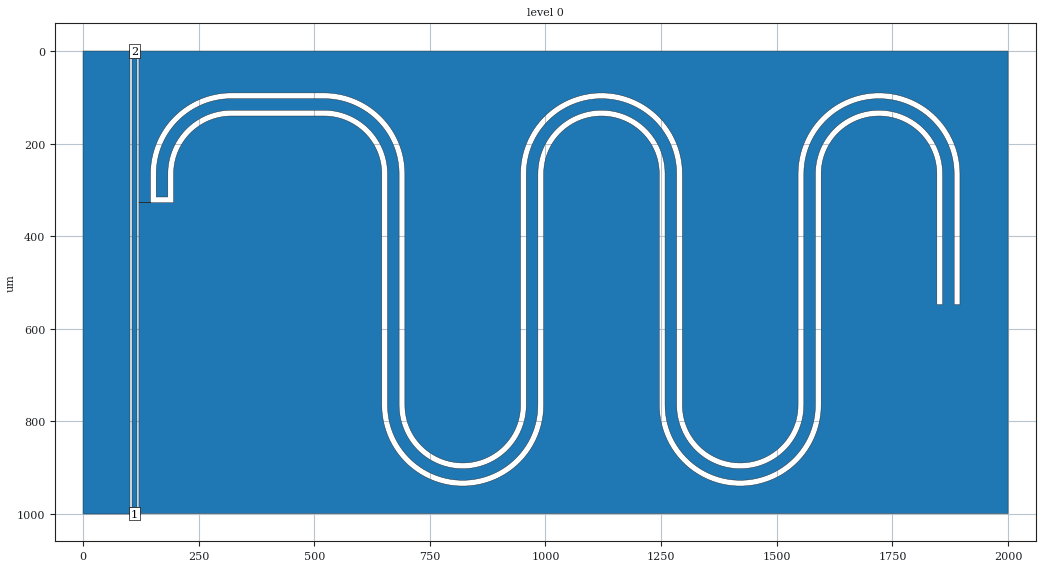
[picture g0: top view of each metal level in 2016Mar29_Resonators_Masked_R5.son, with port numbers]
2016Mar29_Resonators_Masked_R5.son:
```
FTYP SONPROJ 15 ! Sonnet Project File
VER 16.52
HEADER
LIC calt2.2.43068 b4ae2bd1247e DESKTOP-SL82IK9 Michael
DAT 04/05/2016 03:11:30
BUILT_BY_CREATED xgeom 16.52 03/26/2016 21:21:12
BUILT_BY_SAVED xgeom 16.52
MDATE 04/05/2016 03:11:30
HDATE 04/05/2016 03:11:30
END HEADER
DIM
FREQ GHZ
IND NH
LNG UM
ANG DEG
CON /OH
CAP PF
RES OH
END DIM
FREQ
ABS 5.9 6.2 
END FREQ
CONTROL
ABS
OPTIONS  -d 
SPEED 0
CACHE_ABS 1
TARG_ABS 300
Q_ACC N
DET_ABS_RES Y
END CONTROL
GEO
TMET "Lossless" 0 SUP 0 0 0 0
BMET "Lossless" 0 SUP 0 0 0 0
BOX 1 2001 999 1334 666 20 0
      1000 1 1 0 0 0 0 "Air"
      500 11.9 1 5e-006 0 0 0 "Silicon (intrinsic)"
LORGN 0 999 U 
POR1 STD
POLY 12 1
2
1 50 0 0 0 111 999.9999372 
POR1 STD
POLY 12 1
0
2 50 0 0 0 111 9.424496625e-006 
NUM 3
0 5 -1 N 12 1 1 100 100 0 0 0 Y
116 9.424496625e-006
106 9.424496625e-006
106 999.9999372
116 999.9999372
116 9.424496625e-006
END
0 5 -1 N 13 1 1 100 100 0 0 0 Y
101 7.032416229e-006
7.608553248e-006 7.032416229e-006
7.608553248e-006 999.9999372
101 999.9999372
101 7.032416229e-006
END
0 1221 -1 N 21 1 1 100 100 0 0 0 Y
1999.999992 7.571450978e-006
121 7.571450978e-006
121 328
146 328
146 265.5
146.09 259.89
146.36 254.29
146.81 248.7
147.44 243.12
148.24 237.57
149.23 232.05
150.39 226.56
151.72 221.11
153.23 215.71
154.92 210.36
156.77 205.06
158.79 199.83
160.98 194.66
163.33 189.57
165.85 184.56
168.52 179.62
171.35 174.78
174.34 170.03
177.47 165.38
180.75 160.83
184.18 156.39
187.75 152.06
191.45 147.85
195.29 143.76
199.26 139.79
203.35 135.95
207.56 132.25
211.89 128.68
216.33 125.25
220.88 121.97
225.53 118.83
230.28 115.85
235.12 113.02
240.06 110.34
245.07 107.83
250.16 105.48
255.33 103.29
260.56 101.27
265.86 99.41
271.21 97.73
276.61 96.22
282.06 94.89
287.55 93.73
293.07 92.74
298.62 91.94
304.2 91.31
309.79 90.86
315.39 90.59
321 90.5
521 90.5
526.61 90.59
532.21 90.86
537.8 91.31
543.38 91.94
548.93 92.74
554.45 93.73
559.94 94.89
565.39 96.22
570.79 97.73
576.14 99.41
581.44 101.27
586.67 103.29
591.84 105.48
596.93 107.83
601.94 110.34
606.88 113.02
611.72 115.85
616.47 118.83
621.12 121.97
625.67 125.25
630.11 128.68
634.44 132.25
638.65 135.95
642.74 139.79
646.71 143.76
650.55 147.85
654.25 152.06
657.82 156.39
661.25 160.83
664.53 165.38
667.67 170.03
670.65 174.78
673.48 179.62
676.15 184.56
678.67 189.57
681.02 194.66
683.21 199.83
685.23 205.06
687.09 210.36
688.77 215.71
690.28 221.11
691.61 226.56
692.77 232.05
693.76 237.57
694.56 243.12
695.19 248.7
695.64 254.29
695.91 259.89
696 265.5
696 765.5
696.26 773.51
697.03 781.49
698.31 789.39
700.09 797.21
702.37 804.89
705.14 812.41
708.38 819.74
712.09 826.84
716.24 833.69
720.82 840.26
725.82 846.53
731.21 852.46
736.96 858.03
743.06 863.23
749.48 868.02
756.2 872.39
763.18 876.32
770.4 879.8
777.83 882.81
785.43 885.33
793.19 887.37
801.05 888.9
809 889.92
816.99 890.44
825.01 890.44
833 889.92
840.95 888.9
848.82 887.37
856.57 885.33
864.17 882.81
871.6 879.8
878.82 876.32
885.8 872.39
892.52 868.02
898.94 863.23
905.04 858.03
910.79 852.46
916.18 846.53
921.18 840.26
925.76 833.69
929.92 826.84
933.62 819.74
936.86 812.41
939.63 804.89
941.91 797.21
943.69 789.39
944.97 781.49
945.74 773.51
946 765.5
946 265.5
946.36 254.29
947.44 243.12
949.23 232.05
951.72 221.11
954.92 210.36
958.79 199.83
963.33 189.57
968.52 179.62
974.34 170.03
980.75 160.83
987.75 152.06
995.29 143.76
1003.35 135.95
1010.21 130.1
1011.89 128.68
1020.88 121.97
1030.28 115.85
1040.06 110.34
1050.16 105.48
1060.56 101.27
1071.21 97.73
1082.06 94.89
1093.07 92.74
1104.2 91.31
1115.39 90.59
1126.61 90.59
1137.8 91.31
1148.93 92.74
1159.94 94.89
1170.79 97.73
1181.44 101.27
1191.84 105.48
1201.94 110.34
1211.72 115.85
1221.12 121.97
1230.11 128.68
1238.65 135.95
1246.71 143.76
1254.25 152.06
1261.25 160.83
1267.67 170.03
1273.48 179.62
1278.67 189.57
1283.21 199.83
1287.09 210.36
1290.28 221.11
1292.77 232.05
1294.56 243.12
1295.64 254.29
1296 265.5
1296 765.5
1296.26 773.51
1297.03 781.49
1298.31 789.39
1300.09 797.21
1302.37 804.89
1305.14 812.41
1308.38 819.74
1312.09 826.84
1316.24 833.69
1320.82 840.26
1325.82 846.53
1331.21 852.46
1336.96 858.03
1343.06 863.23
1349.48 868.02
1356.2 872.39
1363.18 876.32
1370.4 879.8
1377.83 882.81
1385.43 885.33
1393.19 887.37
1401.05 888.9
1409 889.92
1416.99 890.44
1425.01 890.44
1433 889.92
1440.95 888.9
1448.82 887.37
1456.57 885.33
1464.17 882.81
1471.6 879.8
1478.82 876.32
1485.8 872.39
1492.52 868.02
1498.94 863.23
1505.04 858.03
1510.79 852.46
1516.18 846.53
1521.18 840.26
1525.76 833.69
1529.92 826.84
1533.62 819.74
1536.86 812.41
1539.63 804.89
1541.91 797.21
1543.69 789.39
1544.97 781.49
1545.74 773.51
1546 765.5
1546 265.5
1546.36 254.29
1547.44 243.12
1549.23 232.05
1551.72 221.11
1554.92 210.36
1558.79 199.83
1563.33 189.57
1568.52 179.62
1574.34 170.03
1580.75 160.83
1587.75 152.06
1595.29 143.76
1603.35 135.95
1611.89 128.68
1620.88 121.97
1630.28 115.85
1640.06 110.34
1650.16 105.48
1660.56 101.27
1671.21 97.73
1682.06 94.89
1693.07 92.74
1704.2 91.31
1715.39 90.59
1726.61 90.59
1737.8 91.31
1748.93 92.74
1759.94 94.89
1770.79 97.73
1781.44 101.27
1791.84 105.48
1801.94 110.34
1811.72 115.85
1821.12 121.97
1830.11 128.68
1838.65 135.95
1846.71 143.76
1854.25 152.06
1861.25 160.83
1867.67 170.03
1873.48 179.62
1878.67 189.57
1883.21 199.83
1887.09 210.36
1890.28 221.11
1892.77 232.05
1894.56 243.12
1895.64 254.29
1896 265.5
1896 548.25
1883.5 548.25
1883.5 265.5
1883.17 255.09
1882.17 244.72
1880.5 234.44
1878.19 224.28
1875.22 214.3
1871.62 204.52
1867.41 194.99
1862.59 185.76
1857.19 176.85
1851.23 168.31
1844.73 160.16
1837.73 152.45
1830.25 145.2
1822.32 138.45
1813.97 132.22
1805.24 126.54
1796.16 121.43
1786.78 116.91
1777.12 113
1767.24 109.72
1757.16 107.07
1746.94 105.08
1736.6 103.75
1726.21 103.08
1715.79 103.08
1705.4 103.75
1695.07 105.08
1684.84 107.07
1674.76 109.72
1664.88 113
1655.22 116.91
1645.84 121.43
1636.76 126.54
1628.03 132.22
1619.68 138.45
1611.75 145.2
1604.27 152.45
1597.27 160.16
1590.77 168.31
1584.81 176.85
1579.41 185.76
1574.59 194.99
1570.38 204.52
1566.78 214.3
1563.82 224.28
1561.5 234.44
1559.83 244.72
1558.83 255.09
1558.5 265.5
1558.5 765.5
1558.22 774.31
1557.37 783.08
1555.96 791.78
1554 800.38
1551.49 808.83
1548.45 817.1
1544.88 825.16
1540.81 832.97
1536.24 840.51
1531.19 847.74
1525.7 854.63
1519.77 861.16
1513.44 867.29
1506.73 873
1499.67 878.27
1492.28 883.08
1484.6 887.41
1476.66 891.23
1468.49 894.54
1460.12 897.32
1451.6 899.55
1442.94 901.24
1434.2 902.36
1425.41 902.93
1416.59 902.93
1407.8 902.36
1399.06 901.24
1390.4 899.55
1381.88 897.32
1373.51 894.54
1365.34 891.23
1357.4 887.41
1349.72 883.08
1342.33 878.27
1335.27 873
1328.56 867.29
1322.23 861.16
1316.3 854.63
1310.81 847.74
1305.76 840.51
1301.19 832.97
1297.12 825.16
1293.55 817.1
1290.51 808.83
1288 800.38
1286.04 791.78
1284.63 783.08
1283.78 774.31
1283.5 765.5
1283.5 265.5
1283.17 255.09
1282.17 244.72
1280.5 234.44
1278.19 224.28
1275.22 214.3
1271.62 204.52
1267.41 194.99
1262.59 185.76
1257.19 176.85
1251.23 168.31
1244.73 160.16
1237.73 152.45
1230.25 145.2
1222.32 138.45
1213.97 132.22
1205.24 126.54
1196.16 121.43
1186.78 116.91
1177.12 113
1167.24 109.72
1157.16 107.07
1146.94 105.08
1136.6 103.75
1126.21 103.08
1115.79 103.08
1105.4 103.75
1095.07 105.08
1084.84 107.07
1074.76 109.72
1064.88 113
1055.22 116.91
1045.84 121.43
1036.76 126.54
1028.03 132.22
1019.68 138.45
1011.75 145.2
1010.21 146.69
1004.27 152.45
997.27 160.16
990.77 168.31
984.81 176.85
979.41 185.76
974.59 194.99
970.38 204.52
966.78 214.3
963.82 224.28
961.5 234.44
959.83 244.72
958.83 255.09
958.5 265.5
958.5 765.5
958.22 774.31
957.37 783.08
955.96 791.78
954 800.38
951.49 808.83
948.45 817.1
944.88 825.16
940.81 832.97
936.24 840.51
931.19 847.74
925.7 854.63
919.77 861.16
913.44 867.29
906.73 873
899.67 878.27
892.28 883.08
884.6 887.41
876.66 891.23
868.49 894.54
860.12 897.32
851.6 899.55
842.94 901.24
834.2 902.36
825.41 902.93
816.59 902.93
807.8 902.36
799.06 901.24
790.4 899.55
781.88 897.32
773.51 894.54
765.34 891.23
757.4 887.41
749.72 883.08
742.33 878.27
735.27 873
728.56 867.29
722.23 861.16
716.3 854.63
710.81 847.74
705.76 840.51
701.19 832.97
697.12 825.16
693.55 817.1
690.51 808.83
688 800.38
686.04 791.78
684.63 783.08
683.78 774.31
683.5 765.5
683.5 265.5
683.42 260.29
683.17 255.09
682.75 249.9
682.17 244.72
681.42 239.57
680.5 234.44
679.43 229.34
678.19 224.28
676.78 219.26
675.22 214.3
673.5 209.38
671.62 204.52
669.59 199.72
667.41 194.99
665.07 190.34
662.59 185.76
659.96 181.26
657.19 176.85
654.28 172.53
651.23 168.31
648.05 164.18
644.73 160.16
641.3 156.25
637.73 152.45
634.05 148.77
630.25 145.2
626.34 141.76
622.32 138.45
618.19 135.27
613.97 132.22
609.65 129.31
605.24 126.54
600.74 123.91
596.16 121.43
591.51 119.09
586.78 116.91
581.98 114.88
577.12 113
572.2 111.28
567.24 109.72
562.22 108.32
557.16 107.07
552.06 106
546.94 105.08
541.78 104.33
536.6 103.75
531.41 103.33
526.21 103.08
521 103
321 103
315.79 103.08
310.59 103.33
305.4 103.75
300.22 104.33
295.07 105.08
289.94 106
284.84 107.07
279.78 108.32
274.76 109.72
269.8 111.28
264.88 113
260.02 114.88
255.22 116.91
250.49 119.09
245.84 121.43
241.26 123.91
236.76 126.54
232.35 129.31
228.03 132.22
223.81 135.27
219.68 138.45
215.66 141.76
211.75 145.2
207.95 148.77
204.27 152.45
200.7 156.25
197.26 160.16
193.95 164.18
190.77 168.31
187.72 172.53
184.81 176.85
182.04 181.26
179.41 185.76
176.93 190.34
174.59 194.99
172.41 199.72
170.38 204.52
168.5 209.38
166.78 214.3
165.22 219.26
163.82 224.28
162.57 229.34
161.5 234.44
160.58 239.57
159.83 244.72
159.25 249.9
158.83 255.09
158.58 260.29
158.5 265.5
158.5 315.5
183.5 315.5
183.5 265.5
183.57 261.09
183.78 256.69
184.14 252.3
184.63 247.92
185.26 243.55
186.04 239.22
186.95 234.9
188 230.62
189.18 226.38
190.51 222.17
191.96 218.01
193.55 213.9
195.27 209.84
197.12 205.84
199.09 201.9
201.19 198.03
203.42 194.22
205.76 190.49
208.23 186.83
210.81 183.26
213.5 179.77
216.3 176.37
219.21 173.06
222.23 169.84
225.34 166.73
228.56 163.71
231.87 160.8
235.27 158
238.76 155.31
242.33 152.73
245.99 150.26
249.72 147.92
253.53 145.69
257.4 143.59
261.34 141.62
265.34 139.77
269.4 138.05
273.51 136.46
277.67 135.01
281.88 133.68
286.12 132.5
290.4 131.45
294.72 130.54
299.06 129.76
303.42 129.13
307.8 128.63
312.19 128.28
316.59 128.07
321 128
521 128
525.41 128.07
529.81 128.28
534.2 128.63
538.58 129.13
542.94 129.76
547.28 130.54
551.6 131.45
555.88 132.5
560.12 133.68
564.33 135.01
568.49 136.46
572.6 138.05
576.66 139.77
580.66 141.62
584.6 143.59
588.47 145.69
592.28 147.92
596.01 150.26
599.67 152.73
603.24 155.31
606.73 158
610.13 160.8
613.44 163.71
616.66 166.73
619.77 169.84
622.79 173.06
625.7 176.37
628.5 179.77
631.19 183.26
633.77 186.83
636.24 190.49
638.58 194.22
640.81 198.03
642.91 201.9
644.88 205.84
646.73 209.84
648.45 213.9
650.04 218.01
651.49 222.17
652.82 226.38
654 230.62
655.05 234.9
655.96 239.22
656.74 243.55
657.37 247.92
657.86 252.3
658.22 256.69
658.43 261.09
658.5 265.5
658.5 765.5
658.83 775.91
659.83 786.28
661.5 796.56
663.82 806.72
666.78 816.7
670.38 826.48
674.59 836.01
679.41 845.24
684.81 854.15
690.77 862.69
697.27 870.84
704.27 878.55
711.75 885.8
719.68 892.55
728.03 898.78
736.76 904.46
745.84 909.57
755.22 914.09
764.88 918
774.76 921.28
784.84 923.93
795.07 925.92
805.4 927.25
815.79 927.92
826.21 927.92
836.6 927.25
846.94 925.92
857.16 923.93
867.24 921.28
877.12 918
886.78 914.09
896.16 909.57
905.24 904.46
913.97 898.78
922.32 892.55
930.25 885.8
937.73 878.55
944.73 870.84
951.23 862.69
957.19 854.15
962.59 845.24
967.41 836.01
971.62 826.48
975.22 816.7
978.19 806.72
980.5 796.56
982.17 786.28
983.17 775.91
983.5 765.5
983.5 265.5
983.78 256.69
984.63 247.92
986.04 239.22
988 230.62
990.51 222.17
993.55 213.9
997.12 205.84
1001.19 198.03
1005.76 190.49
1010.21 184.11
1010.81 183.26
1016.3 176.37
1022.23 169.84
1028.56 163.71
1035.27 158
1042.33 152.73
1049.72 147.92
1057.4 143.59
1065.34 139.77
1073.51 136.46
1081.88 133.68
1090.4 131.45
1099.06 129.76
1107.8 128.63
1116.59 128.07
1125.41 128.07
1134.2 128.63
1142.94 129.76
1151.6 131.45
1160.12 133.68
1168.49 136.46
1176.66 139.77
1184.6 143.59
1192.28 147.92
1199.67 152.73
1206.73 158
1213.44 163.71
1219.77 169.84
1225.7 176.37
1231.19 183.26
1236.24 190.49
1240.81 198.03
1244.88 205.84
1248.45 213.9
1251.49 222.17
1254 230.62
1255.96 239.22
1257.37 247.92
1258.22 256.69
1258.5 265.5
1258.5 765.5
1258.83 775.91
1259.83 786.28
1261.5 796.56
1263.82 806.72
1266.78 816.7
1270.38 826.48
1274.59 836.01
1279.41 845.24
1284.81 854.15
1290.77 862.69
1297.27 870.84
1304.27 878.55
1311.75 885.8
1319.68 892.55
1328.03 898.78
1336.76 904.46
1345.84 909.57
1355.22 914.09
1364.88 918
1374.76 921.28
1384.84 923.93
1395.07 925.92
1405.4 927.25
1415.79 927.92
1426.21 927.92
1436.6 927.25
1446.94 925.92
1457.16 923.93
1467.24 921.28
1477.12 918
1486.78 914.09
1496.16 909.57
1505.24 904.46
1513.97 898.78
1522.32 892.55
1530.25 885.8
1537.73 878.55
1544.73 870.84
1551.23 862.69
1557.19 854.15
1562.59 845.24
1567.41 836.01
1571.62 826.48
1575.22 816.7
1578.19 806.72
1580.5 796.56
1582.17 786.28
1583.17 775.91
1583.5 765.5
1583.5 265.5
1583.78 256.69
1584.63 247.92
1586.04 239.22
1588 230.62
1590.51 222.17
1593.55 213.9
1597.12 205.84
1601.19 198.03
1605.76 190.49
1610.81 183.26
1616.3 176.37
1622.23 169.84
1628.56 163.71
1635.27 158
1642.33 152.73
1649.72 147.92
1657.4 143.59
1665.34 139.77
1673.51 136.46
1681.88 133.68
1690.4 131.45
1699.06 129.76
1707.8 128.63
1716.59 128.07
1725.41 128.07
1734.2 128.63
1742.94 129.76
1751.6 131.45
1760.12 133.68
1768.49 136.46
1776.66 139.77
1784.6 143.59
1792.28 147.92
1799.67 152.73
1806.73 158
1813.44 163.71
1819.77 169.84
1825.7 176.37
1831.19 183.26
1836.24 190.49
1840.81 198.03
1844.88 205.84
1848.45 213.9
1851.49 222.17
1854 230.62
1855.96 239.22
1857.37 247.92
1858.22 256.69
1858.5 265.5
1858.5 548.25
1846 548.25
1846 265.5
1845.74 257.49
1844.97 249.51
1843.69 241.6
1841.91 233.79
1839.63 226.11
1836.86 218.59
1833.62 211.26
1829.92 204.16
1825.76 197.31
1821.18 190.74
1816.18 184.47
1810.79 178.54
1805.04 172.97
1798.94 167.77
1792.52 162.98
1785.8 158.61
1778.82 154.67
1771.6 151.2
1764.17 148.19
1756.57 145.67
1748.82 143.63
1740.95 142.1
1733 141.08
1725.01 140.56
1716.99 140.56
1709 141.08
1701.05 142.1
1693.19 143.63
1685.43 145.67
1677.83 148.19
1670.4 151.2
1663.18 154.67
1656.2 158.61
1649.48 162.98
1643.06 167.77
1636.96 172.97
1631.21 178.54
1625.82 184.47
1620.82 190.74
1616.24 197.31
1612.09 204.16
1608.38 211.26
1605.14 218.59
1602.37 226.11
1600.09 233.79
1598.31 241.6
1597.03 249.51
1596.26 257.49
1596 265.5
1596 765.5
1595.64 776.71
1594.56 787.88
1592.77 798.95
1590.28 809.89
1587.09 820.64
1583.21 831.17
1578.67 841.43
1573.48 851.38
1567.67 860.97
1561.25 870.17
1554.25 878.94
1546.71 887.24
1538.65 895.05
1530.11 902.32
1521.12 909.03
1511.72 915.15
1501.94 920.65
1491.84 925.52
1481.44 929.73
1470.79 933.27
1459.94 936.11
1448.93 938.26
1437.8 939.69
1426.61 940.41
1415.39 940.41
1404.2 939.69
1393.07 938.26
1382.06 936.11
1371.21 933.27
1360.56 929.73
1350.16 925.52
1340.06 920.65
1330.28 915.15
1320.88 909.03
1311.89 902.32
1303.35 895.05
1295.29 887.24
1287.75 878.94
1280.75 870.17
1274.34 860.97
1268.52 851.38
1263.33 841.43
1258.79 831.17
1254.92 820.64
1251.72 809.89
1249.23 798.95
1247.44 787.88
1246.36 776.71
1246 765.5
1246 265.5
1245.74 257.49
1244.97 249.51
1243.69 241.6
1241.91 233.79
1239.63 226.11
1236.86 218.59
1233.62 211.26
1229.92 204.16
1225.76 197.31
1221.18 190.74
1216.18 184.47
1210.79 178.54
1205.04 172.97
1198.94 167.77
1192.52 162.98
1185.8 158.61
1178.82 154.67
1171.6 151.2
1164.17 148.19
1156.57 145.67
1148.82 143.63
1140.95 142.1
1133 141.08
1125.01 140.56
1116.99 140.56
1109 141.08
1101.05 142.1
1093.19 143.63
1085.43 145.67
1077.83 148.19
1070.4 151.2
1063.18 154.67
1056.2 158.61
1049.48 162.98
1043.06 167.77
1036.96 172.97
1031.21 178.54
1025.82 184.47
1020.82 190.74
1016.24 197.31
1012.09 204.16
1010.21 207.75
1008.38 211.26
1005.14 218.59
1002.37 226.11
1000.09 233.79
998.31 241.6
997.03 249.51
996.26 257.49
996 265.5
996 765.5
995.64 776.71
994.56 787.88
992.77 798.95
990.28 809.89
987.09 820.64
983.21 831.17
978.67 841.43
973.48 851.38
967.67 860.97
961.25 870.17
954.25 878.94
946.71 887.24
938.65 895.05
930.11 902.32
921.12 909.03
911.72 915.15
901.94 920.65
891.84 925.52
881.44 929.73
870.79 933.27
859.94 936.11
848.93 938.26
837.8 939.69
826.61 940.41
815.39 940.41
804.2 939.69
793.07 938.26
782.06 936.11
771.21 933.27
760.56 929.73
750.16 925.52
740.06 920.65
730.28 915.15
720.88 909.03
711.89 902.32
703.35 895.05
695.29 887.24
687.75 878.94
680.75 870.17
674.34 860.97
668.52 851.38
663.33 841.43
658.79 831.17
654.92 820.64
651.72 809.89
649.23 798.95
647.44 787.88
646.36 776.71
646 765.5
646 265.5
645.94 261.49
645.74 257.49
645.42 253.5
644.97 249.51
644.4 245.55
643.69 241.6
642.87 237.68
641.91 233.79
640.83 229.93
639.63 226.11
638.31 222.33
636.86 218.59
635.3 214.9
633.62 211.26
631.82 207.68
629.92 204.16
627.89 200.7
625.76 197.31
623.52 193.99
621.18 190.74
618.73 187.56
616.18 184.47
613.53 181.46
610.79 178.54
607.96 175.71
605.04 172.97
602.03 170.32
598.94 167.77
595.76 165.32
592.52 162.98
589.19 160.74
585.8 158.61
582.34 156.58
578.82 154.67
575.23 152.88
571.6 151.2
567.91 149.63
564.17 148.19
560.39 146.87
556.57 145.67
552.71 144.59
548.82 143.63
544.9 142.8
540.95 142.1
536.98 141.53
533 141.08
529.01 140.76
525.01 140.56
521 140.5
321 140.5
316.99 140.56
312.99 140.76
311 140.92
309 141.08
305.01 141.53
301.05 142.1
297.11 142.8
293.18 143.63
289.29 144.59
285.43 145.67
281.61 146.87
277.83 148.19
274.09 149.63
270.4 151.2
266.76 152.88
263.18 154.67
259.66 156.58
256.2 158.61
252.81 160.74
249.49 162.98
246.24 165.32
243.06 167.77
239.97 170.32
236.96 172.97
234.04 175.71
231.21 178.54
228.47 181.46
225.82 184.47
223.27 187.56
220.82 190.74
218.48 193.99
216.24 197.31
214.11 200.7
212.09 204.16
210.18 207.68
208.38 211.26
206.7 214.9
205.14 218.59
203.69 222.33
202.37 226.11
201.17 229.93
200.09 233.79
199.13 237.68
198.31 241.6
197.6 245.55
197.03 249.51
196.58 253.5
196.26 257.49
196.06 261.49
196 265.5
196 328
146 328
121 328
121 1000.000049
1999.999992 1000.000049
1999.999992 7.571450978e-006
END
END GEO
OPT
MAX 100
VARS
END
END OPT
VARSWP
END VARSWP
QSG
IMPORT YES
EXTRA_METAL NO
UNITS NO
ALIGN NO
REF NO
VIEW_RES NO
METALS NO
USED YES
END QSG
```
